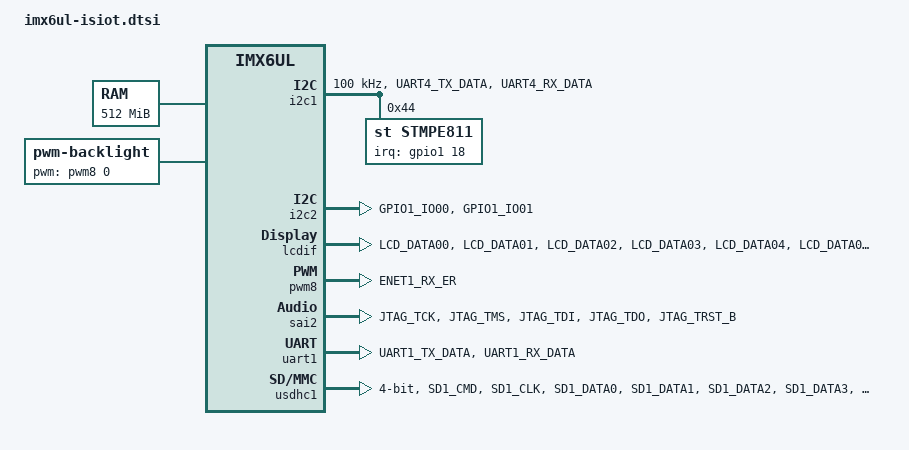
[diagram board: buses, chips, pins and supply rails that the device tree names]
/*
 * Copyright (C) 2016 Amarula Solutions B.V.
 * Copyright (C) 2016 Engicam S.r.l.
 *
 * This file is dual-licensed: you can use it either under the terms
 * of the GPL or the X11 license, at your option. Note that this dual
 * licensing only applies to this file, and not this project as a
 * whole.
 *
 *  a) This file is free software; you can redistribute it and/or
 *     modify it under the terms of the GNU General Public License
 *     version 2 as published by the Free Software Foundation.
 *
 *     This file is distributed in the hope that it will be useful,
 *     but WITHOUT ANY WARRANTY; without even the implied warranty of
 *     MERCHANTABILITY or FITNESS FOR A PARTICULAR PURPOSE.  See the
 *     GNU General Public License for more details.
 *
 * Or, alternatively,
 *
 *  b) Permission is hereby granted, free of charge, to any person
 *     obtaining a copy of this software and associated documentation
 *     files (the "Software"), to deal in the Software without
 *     restriction, including without limitation the rights to use,
 *     copy, modify, merge, publish, distribute, sublicense, and/or
 *     sell copies of the Software, and to permit persons to whom the
 *     Software is furnished to do so, subject to the following
 *     conditions:
 *
 *     The above copyright notice and this permission notice shall be
 *     included in all copies or substantial portions of the Software.
 *
 *     THE SOFTWARE IS PROVIDED "AS IS", WITHOUT WARRANTY OF ANY KIND,
 *     EXPRESS OR IMPLIED, INCLUDING BUT NOT LIMITED TO THE WARRANTIES
 *     OF MERCHANTABILITY, FITNESS FOR A PARTICULAR PURPOSE AND
 *     NONINFRINGEMENT. IN NO EVENT SHALL THE AUTHORS OR COPYRIGHT
 *     HOLDERS BE LIABLE FOR ANY CLAIM, DAMAGES OR OTHER LIABILITY,
 *     WHETHER IN AN ACTION OF CONTRACT, TORT OR OTHERWISE, ARISING
 *     FROM, OUT OF OR IN CONNECTION WITH THE SOFTWARE OR THE USE OR
 *     OTHER DEALINGS IN THE SOFTWARE.
 */

#include <dt-bindings/gpio/gpio.h>
#include <dt-bindings/input/input.h>
#include "imx6ul.dtsi"

/ {
	memory {
		reg = <0x80000000 0x20000000>;
	};

	chosen {
		stdout-path = &uart1;
	};

	backlight {
		compatible = "pwm-backlight";
		pwms = <&pwm8 0 100000>;
		brightness-levels = < 0  1  2  3  4  5  6  7  8  9
				     10 11 12 13 14 15 16 17 18 19
				     20 21 22 23 24 25 26 27 28 29
				     30 31 32 33 34 35 36 37 38 39
				     40 41 42 43 44 45 46 47 48 49
				     50 51 52 53 54 55 56 57 58 59
				     60 61 62 63 64 65 66 67 68 69
				     70 71 72 73 74 75 76 77 78 79
				     80 81 82 83 84 85 86 87 88 89
				     90 91 92 93 94 95 96 97 98 99
				    100>;
		default-brightness-level = <100>;
	};
};

&i2c1 {
	clock-frequency = <100000>;
	pinctrl-names = "default";
	pinctrl-0 = <&pinctrl_i2c1>;
	status = "okay";

	stmpe811: gpio-expander@44 {
		compatible = "st,stmpe811";
		reg = <0x44>;
		#address-cells = <1>;
		#size-cells = <0>;
		pinctrl-names = "default";
		pinctrl-0 = <&pinctrl_stmpe>;
		interrupt-parent = <&gpio1>;
		interrupts = <18 IRQ_TYPE_EDGE_FALLING>;
		interrupt-controller;
		#interrupt-cells = <2>;

		stmpe: touchscreen {
			compatible = "st,stmpe-ts";
			st,sample-time = <4>;
			st,mod-12b = <1>;
			st,ref-sel = <0>;
			st,adc-freq = <1>;
			st,ave-ctrl = <1>;
			st,touch-det-delay = <2>;
			st,settling = <2>;
			st,fraction-z = <7>;
			st,i-drive = <1>;
		};
	};
};

&i2c2 {
	clock_frequency = <100000>;
	pinctrl-names = "default";
	pinctrl-0 = <&pinctrl_i2c2>;
	status = "okay";
};

&lcdif {
	pinctrl-names = "default";
	pinctrl-0 = <&pinctrl_lcdif_dat
		     &pinctrl_lcdif_ctrl>;
	display = <&display0>;
	status = "okay";

	display0: display {
		bits-per-pixel = <16>;
		bus-width = <18>;

		display-timings {
			native-mode = <&timing0>;
			timing0: timing0 {
				clock-frequency = <28000000>;
				hactive = <800>;
				vactive = <480>;
				hfront-porch = <30>;
				hback-porch = <30>;
				hsync-len = <64>;
				vback-porch = <5>;
				vfront-porch = <5>;
				vsync-len = <20>;
				hsync-active = <0>;
				vsync-active = <0>;
				de-active = <1>;
				pixelclk-active = <0>;
			};
		};
	};
};

&pwm8 {
	pinctrl-names = "default";
	pinctrl-0 = <&pinctrl_pwm8>;
	status = "okay";
};

&sai2 {
	pinctrl-names = "default";
	pinctrl-0 = <&pinctrl_sai2>;
	status = "okay";
};

&uart1 {
	pinctrl-names = "default";
	pinctrl-0 = <&pinctrl_uart1>;
	status = "okay";
};

&usdhc1 {
	pinctrl-names = "default", "state_100mhz", "state_200mhz";
	pinctrl-0 = <&pinctrl_usdhc1>;
	pinctrl-1 = <&pinctrl_usdhc1_100mhz>;
	pinctrl-2 = <&pinctrl_usdhc1_200mhz>;
	cd-gpios = <&gpio1 19 GPIO_ACTIVE_LOW>;
	bus-width = <4>;
	no-1-8-v;
	status = "okay";
};

&iomuxc {
	pinctrl_i2c1: i2c1grp {
		fsl,pins = <
			MX6UL_PAD_UART4_TX_DATA__I2C1_SCL 0x4001b8b0
			MX6UL_PAD_UART4_RX_DATA__I2C1_SDA 0x4001b8b0
		>;
	};

	pinctrl_i2c2: i2c2grp {
		fsl,pins = <
			MX6UL_PAD_GPIO1_IO00__I2C2_SCL 0x4001b8b0
			MX6UL_PAD_GPIO1_IO01__I2C2_SDA 0x4001b8b0
		>;
	};

	pinctrl_lcdif_ctrl: lcdifctrlgrp {
		fsl,pins = <
			MX6UL_PAD_LCD_CLK__LCDIF_CLK	    0x79
			MX6UL_PAD_LCD_ENABLE__LCDIF_ENABLE  0x79
			MX6UL_PAD_LCD_HSYNC__LCDIF_HSYNC    0x79
			MX6UL_PAD_LCD_VSYNC__LCDIF_VSYNC    0x79
		>;
	};

	pinctrl_lcdif_dat: lcdifdatgrp {
		fsl,pins = <
			MX6UL_PAD_LCD_DATA00__LCDIF_DATA00  0x79
			MX6UL_PAD_LCD_DATA01__LCDIF_DATA01  0x79
			MX6UL_PAD_LCD_DATA02__LCDIF_DATA02  0x79
			MX6UL_PAD_LCD_DATA03__LCDIF_DATA03  0x79
			MX6UL_PAD_LCD_DATA04__LCDIF_DATA04  0x79
			MX6UL_PAD_LCD_DATA05__LCDIF_DATA05  0x79
			MX6UL_PAD_LCD_DATA06__LCDIF_DATA06  0x79
			MX6UL_PAD_LCD_DATA07__LCDIF_DATA07  0x79
			MX6UL_PAD_LCD_DATA08__LCDIF_DATA08  0x79
			MX6UL_PAD_LCD_DATA09__LCDIF_DATA09  0x79
			MX6UL_PAD_LCD_DATA10__LCDIF_DATA10  0x79
			MX6UL_PAD_LCD_DATA11__LCDIF_DATA11  0x79
			MX6UL_PAD_LCD_DATA12__LCDIF_DATA12  0x79
			MX6UL_PAD_LCD_DATA13__LCDIF_DATA13  0x79
			MX6UL_PAD_LCD_DATA14__LCDIF_DATA14  0x79
			MX6UL_PAD_LCD_DATA15__LCDIF_DATA15  0x79
			MX6UL_PAD_LCD_DATA16__LCDIF_DATA16  0x79
			MX6UL_PAD_LCD_DATA17__LCDIF_DATA17  0x79
		>;
	};

	pinctrl_pwm8: pwm8grp {
		fsl,pins = <
			MX6UL_PAD_ENET1_RX_ER__PWM8_OUT   0x110b0
		>;
	};

	pinctrl_sai2: sai2grp {
		fsl,pins = <
			MX6UL_PAD_JTAG_TCK__SAI2_RX_DATA	0x130b0
			MX6UL_PAD_JTAG_TMS__CCM_CLKO1		0x4001b031
			MX6UL_PAD_JTAG_TDI__SAI2_TX_BCLK	0x17088
			MX6UL_PAD_JTAG_TDO__SAI2_TX_SYNC	0x17088
			MX6UL_PAD_JTAG_TRST_B__SAI2_TX_DATA	0x120b0
		>;
	};

	pinctrl_stmpe: stmpegrp  {
		fsl,pins = <
			MX6UL_PAD_UART1_CTS_B__GPIO1_IO18 0x1b0b0
		>;
	};

	pinctrl_uart1: uart1grp {
		fsl,pins = <
			MX6UL_PAD_UART1_TX_DATA__UART1_DCE_TX 0x1b0b1
			MX6UL_PAD_UART1_RX_DATA__UART1_DCE_RX 0x1b0b1
		>;
	};

	pinctrl_usdhc1: usdhc1grp {
		fsl,pins = <
			MX6UL_PAD_SD1_CMD__USDHC1_CMD     0x17059
			MX6UL_PAD_SD1_CLK__USDHC1_CLK     0x10059
			MX6UL_PAD_SD1_DATA0__USDHC1_DATA0 0x17059
			MX6UL_PAD_SD1_DATA1__USDHC1_DATA1 0x17059
			MX6UL_PAD_SD1_DATA2__USDHC1_DATA2 0x17059
			MX6UL_PAD_SD1_DATA3__USDHC1_DATA3 0x17059
		>;
	};

	pinctrl_usdhc1_100mhz: usdhc1grp100mhz {
		fsl,pins = <
			MX6UL_PAD_SD1_CMD__USDHC1_CMD     0x170b9
			MX6UL_PAD_SD1_CLK__USDHC1_CLK     0x100b9
			MX6UL_PAD_SD1_DATA0__USDHC1_DATA0 0x170b9
			MX6UL_PAD_SD1_DATA1__USDHC1_DATA1 0x170b9
			MX6UL_PAD_SD1_DATA2__USDHC1_DATA2 0x170b9
			MX6UL_PAD_SD1_DATA3__USDHC1_DATA3 0x170b9
		>;
	};

	pinctrl_usdhc1_200mhz: usdhc1grp200mhz {
		fsl,pins = <
			MX6UL_PAD_SD1_CMD__USDHC1_CMD     0x170f9
			MX6UL_PAD_SD1_CLK__USDHC1_CLK     0x100f9
			MX6UL_PAD_SD1_DATA0__USDHC1_DATA0 0x170f9
			MX6UL_PAD_SD1_DATA1__USDHC1_DATA1 0x170f9
			MX6UL_PAD_SD1_DATA2__USDHC1_DATA2 0x170f9
			MX6UL_PAD_SD1_DATA3__USDHC1_DATA3 0x170f9
		>;
	};
};
